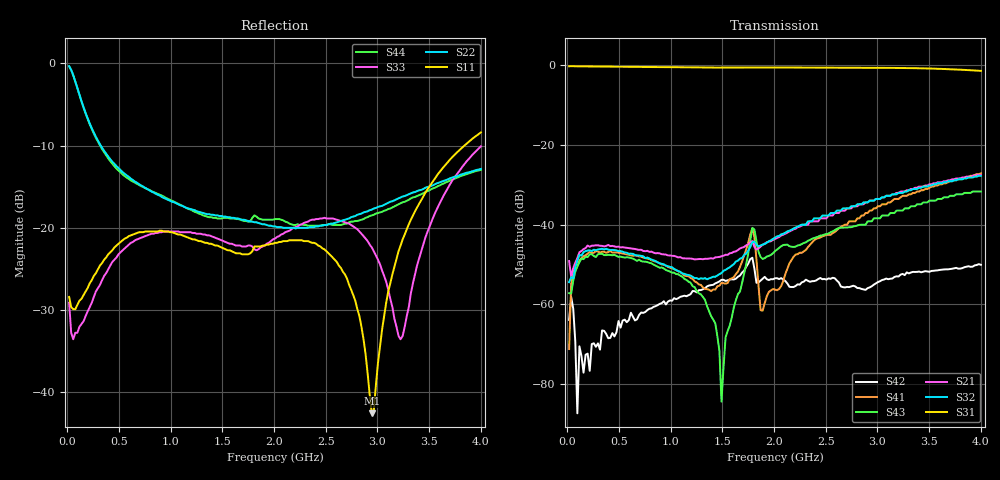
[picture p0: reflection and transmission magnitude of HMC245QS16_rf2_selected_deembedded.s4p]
!Hittite Microwave Corporation
!12 Elizabeth Drive
!Chelmsford, MA 01824
!Tel: 978-250-3343
!Fax: 978-250-3373
!Device: HMC245QS16, DC-3.5 GHz GaAs MMIC SP3T Non-Reflective Switch in 16 lead QSOP package
!Misc: Port 1 = RFC, Port 2 = RF1, Port 3 = RF2. Port 4 = RF3, RF2 Selected, Bias: +5VDC, DEEMBEDDED TO THE PINS OF THE DEVICE
# MHZ S MA R 50
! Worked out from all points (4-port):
!   201 points, 19.9 MHz to 4 GHz, reference 50 ohm
!   strongest paths, dB at 19.9 MHz, 1.015 GHz, 2.01 GHz, 3.005 GHz, 4 GHz:
!     S31: -0.3, -0.5, -0.6, -0.7, -1.4
!     S32: -54.4, -50.7, -43.3, -33.6, -27.7
!     S21: -49.1, -47.8, -43.6, -33.6, -27.5
!     S43: -57.2, -52.0, -46.6, -38.4, -31.7
!     S41: -71.2, -51.0, -56.3, -35.4, -27.1
!     S42: -63.9, -59.1, -53.5, -54.4, -50.1
!   lowest |S11| = -42.6 dB at 2.945 GHz (marker M1), VSWR 1.02, Z = 50.7 - j0.0375 ohm
!   |S11| at or under -10 dB: start of sweep to 3.841 GHz
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19.9  0.038 15.5  0.001803 109.5  0.963 -2.0  0.001977 42.5
      0.003501 118.6  0.961 -11.9  0.0006301 -100.8  0.001035 114.2
      0.968 -1.8  0.001897 -81.7  0.035 33.9  0.001368 150.5
      0.0002753 169.8  0.0006394 74.4  0.001385 47.5  0.961 -12.1
218.905  0.046 -55.7  0.005151 25.1  0.96 -10.4  0.004397 21.3
         0.005271 25.2  0.431 -70.8  0.004762 25.9  0.0002745 144.5
         0.963 -10.3  0.004767 25.5  0.033 -51.2  0.00393 20.1
         0.00454 23.1  0.000147 95.1  0.004245 19.2  0.426 -71.2
1492.537  0.076 -100.7  0.004002 40.7  0.93 -66.1  0.001761 37.3
          0.004017 41.4  0.118 -79.0  0.002517 72.9  0.001985 56.3
          0.931 -65.9  0.002467 73.8  0.084 -82.2  7.057e-05 -4.2
          0.001861 38.1  0.002031 56.4  6.024e-05 29.5  0.114 -87.7
1791.044  0.072 -73.0  0.006122 44.3  0.927 -79.0  0.009037 12.4
          0.006228 43.7  0.109 -70.3  0.006092 93.9  0.003874 13.3
          0.93 -78.9  0.006084 94.2  0.077 -67.3  0.009076 101.0
          0.009036 12.7  0.003847 14.1  0.009106 101.4  0.115 -76.2
1890.547  0.078 -70.3  0.005575 58.0  0.932 -83.2  0.0007652 24.8
          0.005586 57.9  0.105 -66.5  0.005589 90.0  0.002101 21.3
          0.934 -83.1  0.00562 89.7  0.077 -56.1  0.003715 60.4
          0.0008335 23.9  0.002101 20.3  0.003716 60.5  0.112 -77.7
2945.274  0.007447 -2.8  0.02 51.1  0.923 -131.1  0.015 79.7
          0.02 51.1  0.129 3.6  0.02 75.6  0.001646 25.0
          0.926 -131.0  0.02 75.5  0.076 -30.6  0.011 43.6
          0.015 79.7  0.001689 26.2  0.011 43.9  0.119 -16.1
4000  0.38 71.6  0.042 7.0  0.846 176.0  0.044 22.4
      0.042 7.2  0.228 30.0  0.041 35.7  0.003322 18.8
      0.848 176.1  0.041 35.9  0.313 88.6  0.026 -14.1
      0.044 22.3  0.003135 17.4  0.026 -14.4  0.225 8.1
